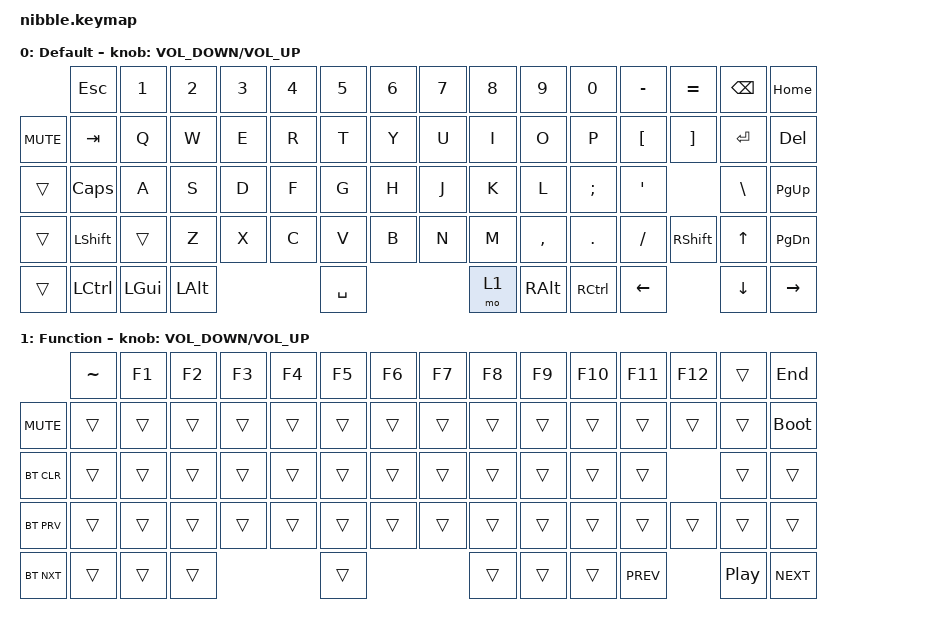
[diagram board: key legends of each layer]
/*
 * Copyright (c) 2020 The ZMK Contributors
 *
 * SPDX-License-Identifier: MIT
 */

#include <behaviors.dtsi>
#include <dt-bindings/zmk/keys.h>
#include <dt-bindings/zmk/bt.h>

&led_strip {
    chain-length = <10>;
};

/ {
    sensors: sensors {
        compatible = "zmk,keymap-sensors";
        sensors = <&encoder_1>;
        triggers-per-rotation = <40>;
    };

    keymap {
        compatible = "zmk,keymap";

        default_layer {
            display-name = "Default";

            sensor-bindings = <&inc_dec_kp C_VOLUME_DOWN C_VOLUME_UP>;

            bindings = <
            &kp ESC   &kp N1    &kp N2    &kp N3    &kp N4    &kp N5    &kp N6    &kp N7    &kp N8  &kp N9    &kp N0    &kp MINUS &kp EQUAL &kp BSPC &kp HOME
&kp C_MUTE  &kp TAB   &kp Q     &kp W     &kp E     &kp R     &kp T     &kp Y     &kp U     &kp I   &kp O     &kp P     &kp LBKT  &kp RBKT  &kp RET  &kp DEL
&trans      &kp CLCK  &kp A     &kp S     &kp D     &kp F     &kp G     &kp H     &kp J     &kp K   &kp L     &kp SEMI  &kp SQT             &kp BSLH &kp PG_UP
&trans      &kp LSHFT &trans    &kp Z     &kp X     &kp C     &kp V     &kp B     &kp N     &kp M   &kp COMMA &kp DOT   &kp FSLH  &kp RSHFT &kp UP   &kp PG_DN
&trans      &kp LCTRL &kp LGUI  &kp LALT                      &kp SPACE                     &mo 1   &kp RALT  &kp RCTRL &kp LEFT            &kp DOWN &kp RIGHT
            >;
        };
        function_layer {
            display-name = "Function";

            sensor-bindings = <&inc_dec_kp C_VOLUME_DOWN C_VOLUME_UP>;

            bindings = <
            &kp TILDE &kp F1    &kp F2    &kp F3    &kp F4    &kp F5    &kp F6    &kp F7    &kp F8  &kp F9    &kp F10   &kp F11   &kp F12   &trans   &kp END
&kp C_MUTE  &trans    &trans    &trans    &trans    &trans    &trans    &trans    &trans    &trans  &trans    &trans    &trans    &trans    &trans   &bootloader
&bt BT_CLR  &trans    &trans    &trans    &trans    &trans    &trans    &trans    &trans    &trans  &trans    &trans    &trans              &trans   &trans
&bt BT_PRV  &trans    &trans    &trans    &trans    &trans    &trans    &trans    &trans    &trans  &trans    &trans    &trans    &trans    &trans   &trans
&bt BT_NXT  &trans    &trans    &trans                        &trans                        &trans  &trans    &trans    &kp C_PREV          &kp C_PP &kp C_NEXT
            >;
        };
    };
};
